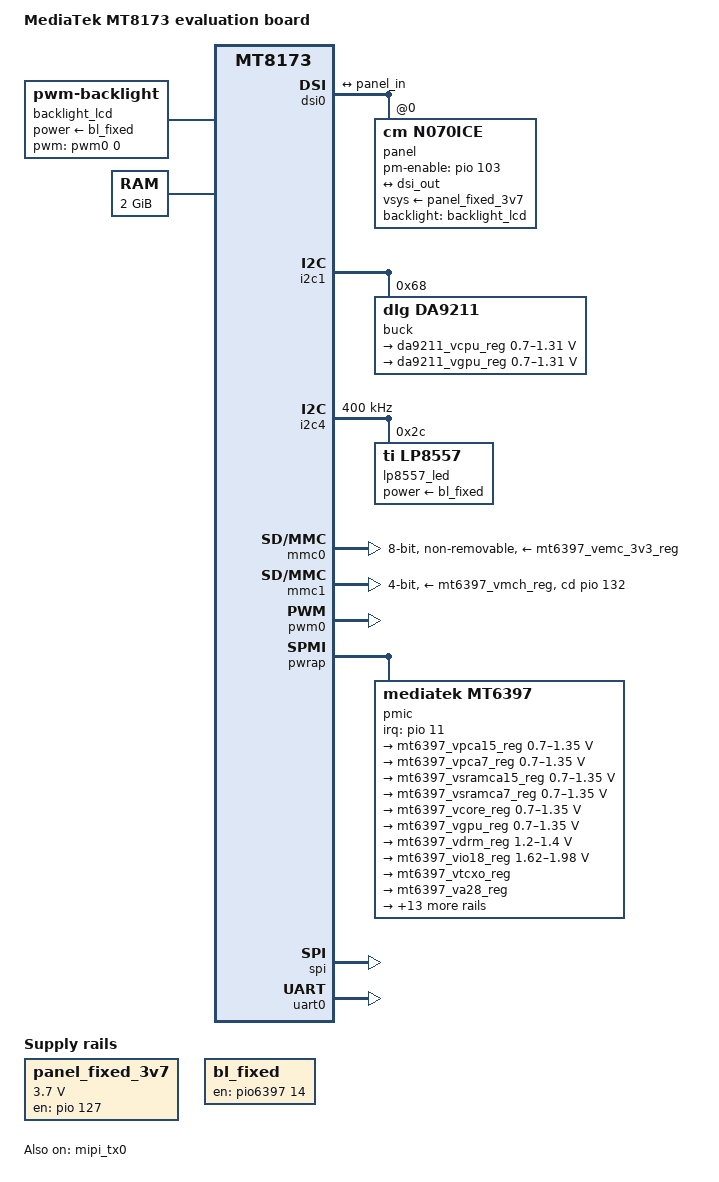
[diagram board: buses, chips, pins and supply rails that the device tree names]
/*
 * Copyright (c) 2014 MediaTek Inc.
 * Author: Eddie Huang <eddie.huang@mediatek.com>
 *
 * This program is free software; you can redistribute it and/or modify
 * it under the terms of the GNU General Public License version 2 as
 * published by the Free Software Foundation.
 *
 * This program is distributed in the hope that it will be useful,
 * but WITHOUT ANY WARRANTY; without even the implied warranty of
 * MERCHANTABILITY or FITNESS FOR A PARTICULAR PURPOSE.  See the
 * GNU General Public License for more details.
 */

#include "mt8173.dtsi"
#include <dt-bindings/pinctrl/mt6397-pinfunc.h>

/ {
	model = "MediaTek MT8173 evaluation board";
	compatible = "mediatek,mt8173-evb", "mediatek,mt8173";

	aliases {
		serial0 = &uart0;
		serial1 = &uart1;
		serial2 = &uart2;
		serial3 = &uart3;
	};

	panel_fixed_3v7: regulator@1 {
		compatible = "regulator-fixed";
		regulator-name = "PANEL_3V7";
		regulator-min-microvolt = <3700000>;
		regulator-max-microvolt = <3700000>;
		enable-active-high;
		gpio = <&pio 127 0>;
		pinctrl-names = "default";
		pinctrl-0 = <&panel_fixed_pins>;
	};

	bl_fixed: regulator@2 {
		compatible = "regulator-fixed";
		regulator-name = "lcm_led";
		enable-active-high;
		gpio = <&pio6397 14 0>;
	};

	backlight_lcd: backlight_lcd {
		compatible = "pwm-backlight";
		pwms = <&pwm0 0 1000000>;
		brightness-levels = <
			  0  16  32  48  64  80  96 112
			128 144 160 176 192 208 224 240
			255
		>;
		default-brightness-level = <9>;
		power-supply = <&bl_fixed>;

		status = "okay";
	};

	memory@40000000 {
		device_type = "memory";
		reg = <0 0x40000000 0 0x80000000>;
	};
};

&dsi0 {
	status = "okay";
	#address-cells = <1>;
	#size-cells = <0>;
	panel@0 {
		compatible = "cm,n070ice";
		reg = <0>;
		pm-enable-gpios = <&pio 103 0>;
		vsys-supply = <&panel_fixed_3v7>;
		backlight = <&backlight_lcd>;
		pinctrl-names = "default";
		pinctrl-0 = <&panel_default_pins>;
		port {
			panel_in: endpoint {
				remote-endpoint = <&dsi_out>;
			};
		};
	};

	ports {
		port {
			dsi_out: endpoint {
				remote-endpoint = <&panel_in>;
			};
		};
	};
};

&i2c1 {
	status = "okay";

	buck: da9211@68 {
		compatible = "dlg,da9211";
		reg = <0x68>;

		regulators {
			da9211_vcpu_reg: BUCKA {
				regulator-name = "VBUCKA";
				regulator-min-microvolt = < 700000>;
				regulator-max-microvolt = <1310000>;
				regulator-min-microamp	= <2000000>;
				regulator-max-microamp	= <4400000>;
				regulator-ramp-delay = <10000>;
				regulator-always-on;
			};

			da9211_vgpu_reg: BUCKB {
				regulator-name = "VBUCKB";
				regulator-min-microvolt = < 700000>;
				regulator-max-microvolt = <1310000>;
				regulator-min-microamp	= <2000000>;
				regulator-max-microamp	= <3000000>;
				regulator-ramp-delay = <10000>;
			};
		};
	};
};

&i2c4 {
	clock-frequency = <400000>;
	status = "okay";

	lp8557_led@2c {
		compatible = "ti,lp8557";
		reg = <0x2c>;
		mode = <2>;
		power-supply = <&bl_fixed>;
		/* dev-ctrl should be 0x43 for factory */
		dev-ctrl =  /bits/ 8 <0x4>; /* (LP8557_COMB2_CONFIG | LP8557_PWM_FILTER | LP8557_DISABLE_LEDS) */
		init-brt =  /bits/ 8 <0xFF>;
		pwm-period = <1>;
		eeprom_data = /bits/ 8 <0x14 0xCF  /* 4V OV, 4 output LED string enabled */
					0x13 0x01  /* Boost frequency @1MHz */
					0x11 0x06  /* Full scale 23 mA */
					0x12 0x2B  /* 19.5 kHz */ /* bypass if it is reset value */
					0x15 0x42  /* Light smoothing, 100 ms */ /* bypass if it is reset value */
					0x16 0xA0>;/* Max boost voltage 25V, enable adaptive voltage */
		rom_14h {
			rom-addr = /bits/ 8 <0x14>;
			rom-val = /bits/ 8 <0xdf>;
		};
	};
};

&mipi_tx0 {
	status = "okay";
};

&mmc0 {
	status = "okay";
	pinctrl-names = "default", "state_uhs";
	pinctrl-0 = <&mmc0_pins_default>;
	pinctrl-1 = <&mmc0_pins_uhs>;
	bus-width = <8>;
	max-frequency = <50000000>;
	cap-mmc-highspeed;
	vmmc-supply = <&mt6397_vemc_3v3_reg>;
	vqmmc-supply = <&mt6397_vio18_reg>;
	non-removable;
};

&mmc1 {
	status = "okay";
	pinctrl-names = "default", "state_uhs";
	pinctrl-0 = <&mmc1_pins_default>;
	pinctrl-1 = <&mmc1_pins_uhs>;
	bus-width = <4>;
	max-frequency = <50000000>;
	cap-sd-highspeed;
	sd-uhs-sdr25;
	cd-gpios = <&pio 132 0>;
	vmmc-supply = <&mt6397_vmch_reg>;
	vqmmc-supply = <&mt6397_vmc_reg>;
};

&pio {
	disp_pwm0_pins: disp_pwm0_pins {
		pins1 {
			pinmux = <MT8173_PIN_87_DISP_PWM0__FUNC_DISP_PWM0>;
		};
	};

	mmc0_pins_default: mmc0default {
		pins_cmd_dat {
			pinmux = <MT8173_PIN_57_MSDC0_DAT0__FUNC_MSDC0_DAT0>,
				 <MT8173_PIN_58_MSDC0_DAT1__FUNC_MSDC0_DAT1>,
				 <MT8173_PIN_59_MSDC0_DAT2__FUNC_MSDC0_DAT2>,
				 <MT8173_PIN_60_MSDC0_DAT3__FUNC_MSDC0_DAT3>,
				 <MT8173_PIN_61_MSDC0_DAT4__FUNC_MSDC0_DAT4>,
				 <MT8173_PIN_62_MSDC0_DAT5__FUNC_MSDC0_DAT5>,
				 <MT8173_PIN_63_MSDC0_DAT6__FUNC_MSDC0_DAT6>,
				 <MT8173_PIN_64_MSDC0_DAT7__FUNC_MSDC0_DAT7>,
				 <MT8173_PIN_66_MSDC0_CMD__FUNC_MSDC0_CMD>;
			input-enable;
			bias-pull-up;
		};

		pins_clk {
			pinmux = <MT8173_PIN_65_MSDC0_CLK__FUNC_MSDC0_CLK>;
			bias-pull-down;
		};

		pins_rst {
			pinmux = <MT8173_PIN_68_MSDC0_RST___FUNC_MSDC0_RSTB>;
			bias-pull-up;
		};
	};

	mmc1_pins_default: mmc1default {
		pins_cmd_dat {
			pinmux = <MT8173_PIN_73_MSDC1_DAT0__FUNC_MSDC1_DAT0>,
				 <MT8173_PIN_74_MSDC1_DAT1__FUNC_MSDC1_DAT1>,
				 <MT8173_PIN_75_MSDC1_DAT2__FUNC_MSDC1_DAT2>,
				 <MT8173_PIN_76_MSDC1_DAT3__FUNC_MSDC1_DAT3>,
				 <MT8173_PIN_78_MSDC1_CMD__FUNC_MSDC1_CMD>;
			input-enable;
			drive-strength = <MTK_DRIVE_4mA>;
			bias-pull-up = <MTK_PUPD_SET_R1R0_10>;
		};

		pins_clk {
			pinmux = <MT8173_PIN_77_MSDC1_CLK__FUNC_MSDC1_CLK>;
			bias-pull-down;
			drive-strength = <MTK_DRIVE_4mA>;
		};

		pins_insert {
			pinmux = <MT8173_PIN_132_I2S0_DATA1__FUNC_GPIO132>;
			bias-pull-up;
		};
	};

	mmc0_pins_uhs: mmc0 {
		pins_cmd_dat {
			pinmux = <MT8173_PIN_57_MSDC0_DAT0__FUNC_MSDC0_DAT0>,
				 <MT8173_PIN_58_MSDC0_DAT1__FUNC_MSDC0_DAT1>,
				 <MT8173_PIN_59_MSDC0_DAT2__FUNC_MSDC0_DAT2>,
				 <MT8173_PIN_60_MSDC0_DAT3__FUNC_MSDC0_DAT3>,
				 <MT8173_PIN_61_MSDC0_DAT4__FUNC_MSDC0_DAT4>,
				 <MT8173_PIN_62_MSDC0_DAT5__FUNC_MSDC0_DAT5>,
				 <MT8173_PIN_63_MSDC0_DAT6__FUNC_MSDC0_DAT6>,
				 <MT8173_PIN_64_MSDC0_DAT7__FUNC_MSDC0_DAT7>,
				 <MT8173_PIN_66_MSDC0_CMD__FUNC_MSDC0_CMD>;
			input-enable;
			drive-strength = <MTK_DRIVE_2mA>;
			bias-pull-up = <MTK_PUPD_SET_R1R0_01>;
		};

		pins_clk {
			pinmux = <MT8173_PIN_65_MSDC0_CLK__FUNC_MSDC0_CLK>;
			drive-strength = <MTK_DRIVE_2mA>;
			bias-pull-down = <MTK_PUPD_SET_R1R0_01>;
		};

		pins_rst {
			pinmux = <MT8173_PIN_68_MSDC0_RST___FUNC_MSDC0_RSTB>;
			bias-pull-up;
		};
	};

	mmc1_pins_uhs: mmc1 {
		pins_cmd_dat {
			pinmux = <MT8173_PIN_73_MSDC1_DAT0__FUNC_MSDC1_DAT0>,
				 <MT8173_PIN_74_MSDC1_DAT1__FUNC_MSDC1_DAT1>,
				 <MT8173_PIN_75_MSDC1_DAT2__FUNC_MSDC1_DAT2>,
				 <MT8173_PIN_76_MSDC1_DAT3__FUNC_MSDC1_DAT3>,
				 <MT8173_PIN_78_MSDC1_CMD__FUNC_MSDC1_CMD>;
			input-enable;
			drive-strength = <MTK_DRIVE_4mA>;
			bias-pull-up = <MTK_PUPD_SET_R1R0_10>;
		};

		pins_clk {
			pinmux = <MT8173_PIN_77_MSDC1_CLK__FUNC_MSDC1_CLK>;
			drive-strength = <MTK_DRIVE_4mA>;
			bias-pull-down = <MTK_PUPD_SET_R1R0_10>;
		};
	};

	panel_default_pins: panel_default_pins {
		pins1 {
			pinmux = <MT8173_PIN_103_MSDC2_DAT3__FUNC_GPIO103>;
		};
	};

	panel_fixed_pins: panel_fixed_pins {
		pins1 {
			pinmux = <MT8173_PIN_127_LCM_RST__FUNC_GPIO127>;
		};
	};
};

&pwm0 {
	pinctrl-names = "default";
	pinctrl-0 = <&disp_pwm0_pins>;
	status = "okay";
};

&pwrap {
	/* Only MT8173 E1 needs USB power domain */
	power-domains = <&scpsys MT8173_POWER_DOMAIN_USB>;

	pmic: mt6397 {
		compatible = "mediatek,mt6397";
		interrupt-parent = <&pio>;
		interrupts = <11 IRQ_TYPE_LEVEL_HIGH>;
		interrupt-controller;
		#interrupt-cells = <2>;

		pio6397: pinctrl@c000 {
			compatible = "mediatek,mt6397-pinctrl";
			pins-are-numbered;
			gpio-controller;
			#gpio-cells = <2>;
		};

		mt6397regulator: mt6397regulator {
			compatible = "mediatek,mt6397-regulator";

			mt6397_vpca15_reg: buck_vpca15 {
				regulator-compatible = "buck_vpca15";
				regulator-name = "vpca15";
				regulator-min-microvolt = < 700000>;
				regulator-max-microvolt = <1350000>;
				regulator-ramp-delay = <12500>;
				regulator-always-on;
			};

			mt6397_vpca7_reg: buck_vpca7 {
				regulator-compatible = "buck_vpca7";
				regulator-name = "vpca7";
				regulator-min-microvolt = < 700000>;
				regulator-max-microvolt = <1350000>;
				regulator-ramp-delay = <12500>;
				regulator-enable-ramp-delay = <115>;
			};

			mt6397_vsramca15_reg: buck_vsramca15 {
				regulator-compatible = "buck_vsramca15";
				regulator-name = "vsramca15";
				regulator-min-microvolt = < 700000>;
				regulator-max-microvolt = <1350000>;
				regulator-ramp-delay = <12500>;
				regulator-always-on;
			};

			mt6397_vsramca7_reg: buck_vsramca7 {
				regulator-compatible = "buck_vsramca7";
				regulator-name = "vsramca7";
				regulator-min-microvolt = < 700000>;
				regulator-max-microvolt = <1350000>;
				regulator-ramp-delay = <12500>;
				regulator-always-on;
			};

			mt6397_vcore_reg: buck_vcore {
				regulator-compatible = "buck_vcore";
				regulator-name = "vcore";
				regulator-min-microvolt = < 700000>;
				regulator-max-microvolt = <1350000>;
				regulator-ramp-delay = <12500>;
				regulator-always-on;
			};

			mt6397_vgpu_reg: buck_vgpu {
				regulator-compatible = "buck_vgpu";
				regulator-name = "vgpu";
				regulator-min-microvolt = < 700000>;
				regulator-max-microvolt = <1350000>;
				regulator-ramp-delay = <12500>;
				regulator-enable-ramp-delay = <115>;
			};

			mt6397_vdrm_reg: buck_vdrm {
				regulator-compatible = "buck_vdrm";
				regulator-name = "vdrm";
				regulator-min-microvolt = <1200000>;
				regulator-max-microvolt = <1400000>;
				regulator-ramp-delay = <12500>;
				regulator-always-on;
			};

			mt6397_vio18_reg: buck_vio18 {
				regulator-compatible = "buck_vio18";
				regulator-name = "vio18";
				regulator-min-microvolt = <1620000>;
				regulator-max-microvolt = <1980000>;
				regulator-ramp-delay = <12500>;
				regulator-always-on;
			};

			mt6397_vtcxo_reg: ldo_vtcxo {
				regulator-compatible = "ldo_vtcxo";
				regulator-name = "vtcxo";
				regulator-always-on;
			};

			mt6397_va28_reg: ldo_va28 {
				regulator-compatible = "ldo_va28";
				regulator-name = "va28";
				regulator-always-on;
			};

			mt6397_vcama_reg: ldo_vcama {
				regulator-compatible = "ldo_vcama";
				regulator-name = "vcama";
				regulator-min-microvolt = <1500000>;
				regulator-max-microvolt = <2800000>;
				regulator-enable-ramp-delay = <218>;
			};

			mt6397_vio28_reg: ldo_vio28 {
				regulator-compatible = "ldo_vio28";
				regulator-name = "vio28";
				regulator-always-on;
			};

			mt6397_vusb_reg: ldo_vusb {
				regulator-compatible = "ldo_vusb";
				regulator-name = "vusb";
			};

			mt6397_vmc_reg: ldo_vmc {
				regulator-compatible = "ldo_vmc";
				regulator-name = "vmc";
				regulator-min-microvolt = <1800000>;
				regulator-max-microvolt = <3300000>;
				regulator-enable-ramp-delay = <218>;
			};

			mt6397_vmch_reg: ldo_vmch {
				regulator-compatible = "ldo_vmch";
				regulator-name = "vmch";
				regulator-min-microvolt = <3000000>;
				regulator-max-microvolt = <3300000>;
				regulator-enable-ramp-delay = <218>;
			};

			mt6397_vemc_3v3_reg: ldo_vemc3v3 {
				regulator-compatible = "ldo_vemc3v3";
				regulator-name = "vemc_3v3";
				regulator-min-microvolt = <3000000>;
				regulator-max-microvolt = <3300000>;
				regulator-enable-ramp-delay = <218>;
			};

			mt6397_vgp1_reg: ldo_vgp1 {
				regulator-compatible = "ldo_vgp1";
				regulator-name = "vcamd";
				regulator-min-microvolt = <1220000>;
				regulator-max-microvolt = <3300000>;
				regulator-enable-ramp-delay = <240>;
			};

			mt6397_vgp2_reg: ldo_vgp2 {
				regulator-compatible = "ldo_vgp2";
				regulator-name = "vcamio";
				regulator-min-microvolt = <1000000>;
				regulator-max-microvolt = <3300000>;
				regulator-enable-ramp-delay = <218>;
			};

			mt6397_vgp3_reg: ldo_vgp3 {
				regulator-compatible = "ldo_vgp3";
				regulator-name = "vcamaf";
				regulator-min-microvolt = <1200000>;
				regulator-max-microvolt = <3300000>;
				regulator-enable-ramp-delay = <218>;
			};

			mt6397_vgp4_reg: ldo_vgp4 {
				regulator-compatible = "ldo_vgp4";
				regulator-name = "vgp4";
				regulator-min-microvolt = <1200000>;
				regulator-max-microvolt = <3300000>;
				regulator-enable-ramp-delay = <218>;
			};

			mt6397_vgp5_reg: ldo_vgp5 {
				regulator-compatible = "ldo_vgp5";
				regulator-name = "vgp5";
				regulator-min-microvolt = <1200000>;
				regulator-max-microvolt = <3000000>;
				regulator-enable-ramp-delay = <218>;
			};

			mt6397_vgp6_reg: ldo_vgp6 {
				regulator-compatible = "ldo_vgp6";
				regulator-name = "vgp6";
				regulator-min-microvolt = <1200000>;
				regulator-max-microvolt = <3300000>;
				regulator-enable-ramp-delay = <218>;
			};

			mt6397_vibr_reg: ldo_vibr {
				regulator-compatible = "ldo_vibr";
				regulator-name = "vibr";
				regulator-min-microvolt = <1300000>;
				regulator-max-microvolt = <3300000>;
				regulator-enable-ramp-delay = <218>;
			};
		};
	};
};

&pio {
	spi_pins_a: spi0 {
		pins_spi {
			pinmux = <MT8173_PIN_69_SPI_CK__FUNC_SPI_CK_0_>,
				<MT8173_PIN_70_SPI_MI__FUNC_SPI_MI_0_>,
				<MT8173_PIN_71_SPI_MO__FUNC_SPI_MO_0_>,
				<MT8173_PIN_72_SPI_CS__FUNC_SPI_CS_0_>;
		};
	};
};

&spi {
	pinctrl-names = "default";
	pinctrl-0 = <&spi_pins_a>;
	mediatek,pad-select = <0>;
	status = "okay";
};

&uart0 {
	status = "okay";
};
